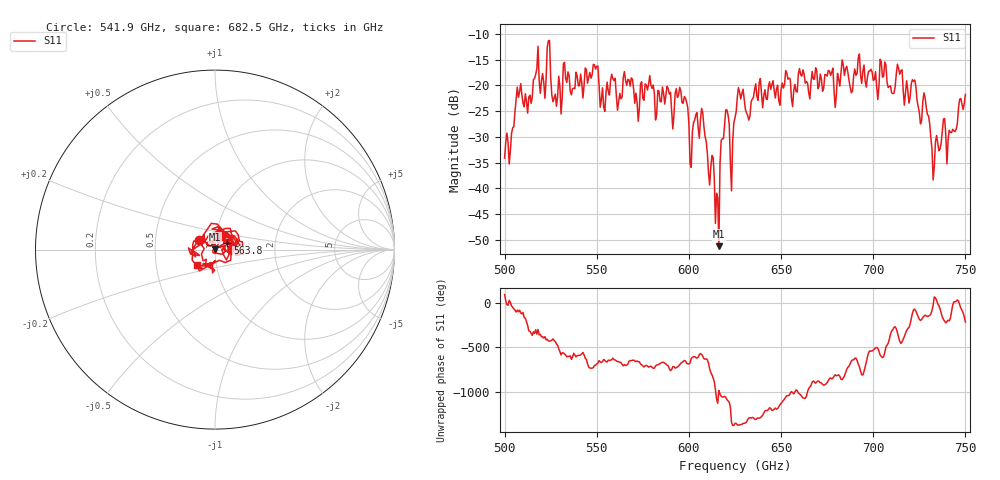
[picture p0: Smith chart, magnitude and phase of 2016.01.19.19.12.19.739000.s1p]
!Created with skrf (http://scikit-rf.org).
# GHz S RI R 50.0
!freq ReS11 ImS11
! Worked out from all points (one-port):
!   401 points, 500 GHz to 750 GHz, reference 50 ohm
!   lowest |S11| = -51.2 dB at 616.2 GHz (marker M1), VSWR 1.01, Z = 50 + j0.275 ohm
!   |S11| at or under -10 dB: start of sweep to end of sweep
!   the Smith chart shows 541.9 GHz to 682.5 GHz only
!   S11 on the Smith chart (normalised r, x): 541.9 GHz: 0.83, +0.09; 563.8 GHz: 1.14, +0.08; 682.5 GHz: 0.81, -0.14
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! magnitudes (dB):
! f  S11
! 500 GHz  -34.1
! 507.5 GHz  -22.3
! 516.9 GHz  -17.9
! 531.2 GHz  -22.4
! 541.9 GHz  -19.5
! 549.4 GHz  -16.8
! 553.1 GHz  -20.5
! 558.8 GHz  -18.7
! 562.5 GHz  -21.6
! 563.8 GHz  -22.2
! 593.8 GHz  -22.4
! 601.2 GHz  -35.9
! 607.5 GHz  -25.3
! 615 GHz  -41.0
! 616.2 GHz  -51.2
! 619.4 GHz  -27.4
! 623.1 GHz  -40.5
! 625 GHz  -26.3
! 628.1 GHz  -22.6
! 631.9 GHz  -25.8
! 656.2 GHz  -24.1
! 682.5 GHz  -17.6
! 687.5 GHz  -20.4
! 714.4 GHz  -17.8
! 718.8 GHz  -20.9
! 728.8 GHz  -24.2
! 732.5 GHz  -38.4
! 750 GHz  -21.7
